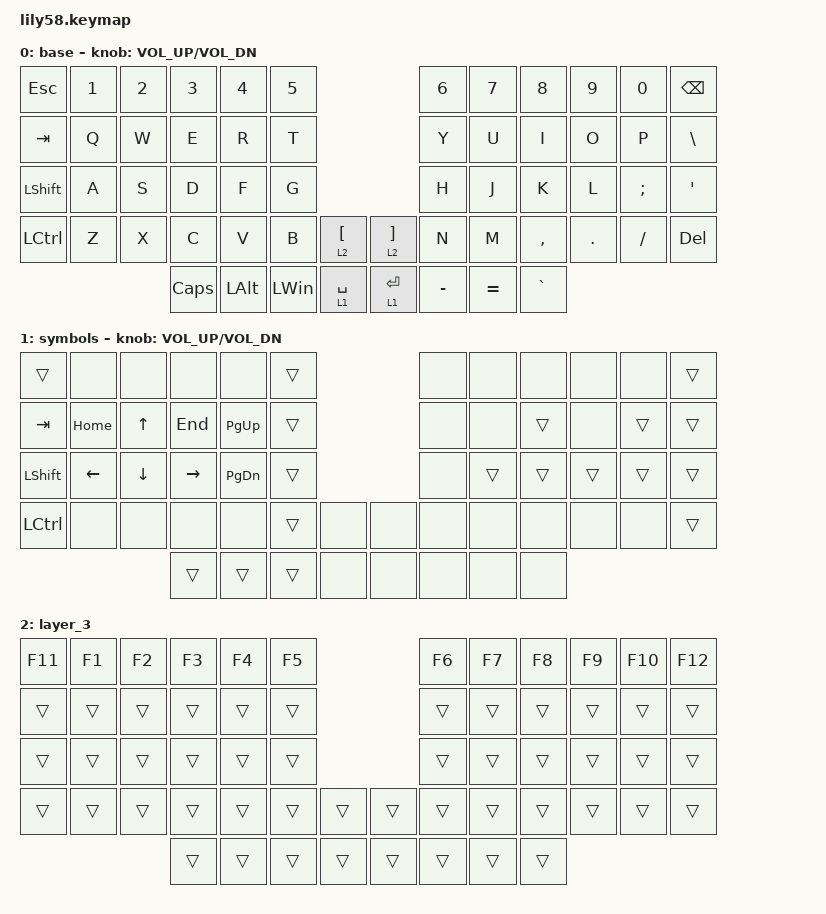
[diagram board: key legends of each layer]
/*
 * Copyright (c) 2020 The ZMK Contributors
 *
 * SPDX-License-Identifier: MIT
 */

#include <behaviors.dtsi>
#include <dt-bindings/zmk/keys.h>

/ {
    combos { compatible = "zmk,combos"; };

    keymap {
        compatible = "zmk,keymap";

        base {
            // ------------------------------------------------------------------------------------------------------------
            // |  ESC  |  1  |  2  |  3   |  4   |  5   |                   |  6   |  7    |  8    |  9   |   0   |   `   |
            // |  TAB  |  Q  |  W  |  E   |  R   |  T   |                   |  Y   |  U    |  I    |  O   |   P   |   -   |
            // |  CTRL |  A  |  S  |  D   |  F   |  G   |                   |  H   |  J    |  K    |  L   |   ;   |   '   |
            // | SHIFT |  Z  |  X  |  C   |  V   |  B   |   "["  |  |  "]"  |  N   |  M    |  ,    |  .   |   /   | SHIFT |
            //                     | ALT  | GUI  | LOWER|  SPACE |  | ENTER | RAISE| BSPC  | GUI   |

            bindings = <
&kp ESC         &kp N1  &kp N2  &kp N3        &kp N4        &kp N5                                                   &kp N6     &kp N7     &kp N8     &kp N9   &kp N0         &kp BACKSPACE
&kp TAB         &kp Q   &kp W   &kp E         &kp R         &kp T                                                    &kp Y      &kp U      &kp I      &kp O    &kp P          &kp BACKSLASH
&kp LEFT_SHIFT  &kp A   &kp S   &kp D         &kp F         &kp G                                                    &kp H      &kp J      &kp K      &kp L    &kp SEMICOLON  &kp SINGLE_QUOTE
&kp LCTRL       &kp Z   &kp X   &kp C         &kp V         &kp B         &lt 2 LEFT_BRACKET    &lt 2 RIGHT_BRACKET  &kp N      &kp M      &kp COMMA  &kp DOT  &kp FSLH       &kp DELETE
                                &kp CAPSLOCK  &kp LEFT_ALT  &kp LEFT_WIN  &lt 1 SPACE           &lt 1 ENTER          &kp MINUS  &kp EQUAL  &kp GRAVE
            >;

            sensor-bindings = <&inc_dec_kp C_VOL_UP C_VOL_DN>;
        };

        symbols {
            // ------------------------------------------------------------------------------------------------------------
            // |       |     |     |      |      |      |                   |      |       |       |      |       |       |
            // |   `   |  1  |  2  |  3   |  4   |  5   |                   |  6   |   7   |   8   |  9   |   0   |       |
            // |   F1  |  F2 |  F3 |  F4  |  F5  |  F6  |                   |      |   <-  |   v   |  ^   |  ->   |       |
            // |   F7  |  F8 |  F9 |  F10 |  F11 |  F12 |        |  |       |  +   |   -   |   =   |  [   |   ]   |   \   |
            //                     |      |      |      |        |  |       |      |       |       |

            bindings = <
&trans          &none           &none           &none            &none          &trans                  &none  &none   &none   &none   &none   &trans
&kp TAB         &kp HOME        &kp UP_ARROW    &kp END          &kp PAGE_UP    &trans                  &none  &none   &trans  &none   &trans  &trans
&kp LEFT_SHIFT  &kp LEFT_ARROW  &kp DOWN_ARROW  &kp RIGHT_ARROW  &kp PAGE_DOWN  &trans                  &none  &trans  &trans  &trans  &trans  &trans
&kp LCTRL       &none           &none           &none            &none          &trans  &none    &none  &none  &none   &none   &none   &none   &trans
                                                &trans           &trans         &trans  &none    &none  &none  &none   &none
            >;

            sensor-bindings = <&inc_dec_kp C_VOL_UP C_VOL_DN>;
        };

        layer_3 {
            bindings = <
&kp F11  &kp F1  &kp F2  &kp F3  &kp F4  &kp F5                    &kp F6  &kp F7  &kp F8  &kp F9  &kp F10  &kp F12
&trans   &trans  &trans  &trans  &trans  &trans                    &trans  &trans  &trans  &trans  &trans   &trans
&trans   &trans  &trans  &trans  &trans  &trans                    &trans  &trans  &trans  &trans  &trans   &trans
&trans   &trans  &trans  &trans  &trans  &trans  &trans    &trans  &trans  &trans  &trans  &trans  &trans   &trans
                         &trans  &trans  &trans  &trans    &trans  &trans  &trans  &trans
            >;
        };
    };
};
